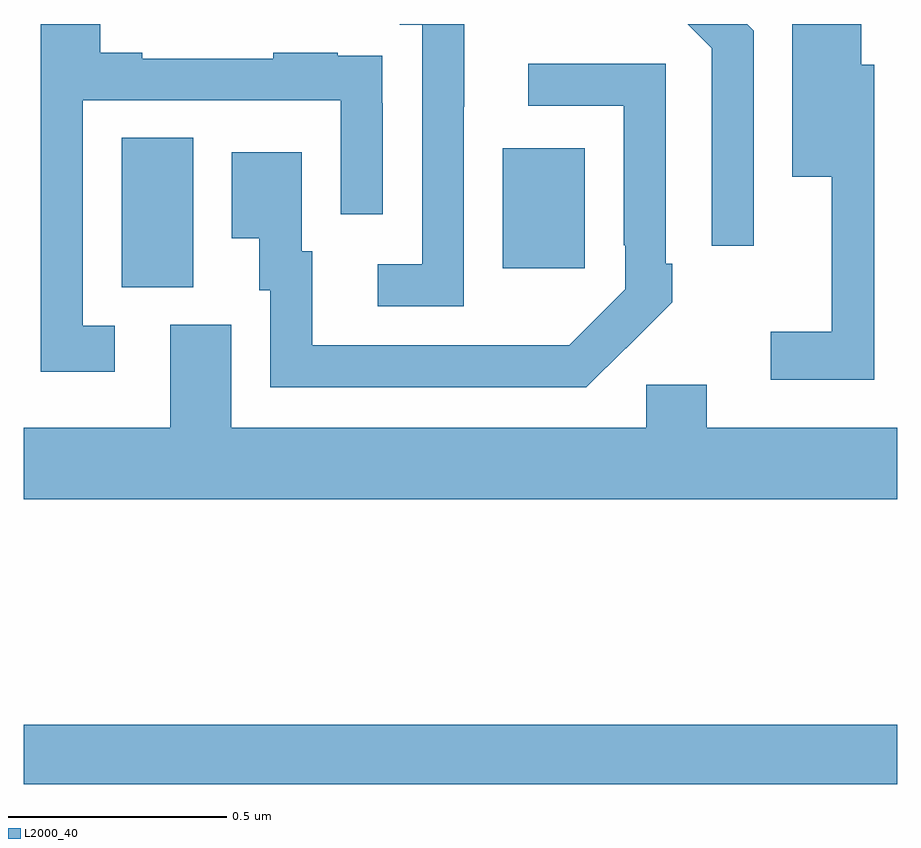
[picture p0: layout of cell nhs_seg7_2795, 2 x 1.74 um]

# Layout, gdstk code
import gdstk
lib = gdstk.Library(unit=1e-6, precision=1e-09)
def R(c, l, rs):  # rectangles x0, y0, x1, y1
    for r in rs: c.add(gdstk.rectangle(r[:2], r[2:], *l))
def P(c, l, *ps):  # polygons
    for p in ps: c.add(gdstk.Polygon(p, *l))
L2000_40 = (2000, 40)

nhs_seg7_2795 = lib.new_cell('nhs_seg7_2795')
R(nhs_seg7_2795, L2000_40, [(150,1037.26,152,1037.396), (150.224,1038.397,150.388,1038.74), (151.097,1038.441,151.285,1038.715)])
P(nhs_seg7_2795, L2000_40, [(151.008,1038.811),(151.009,1038.811),(151.009,1039),(150.861,1039),(150.861,1038.998),(150.912,1038.998),(150.912,1038.45),(150.81,1038.45),(150.81,1038.354),(151.008,1038.354)],
  [(151.671,1038.985),(151.656,1039),(151.52,1039),(151.575,1038.945),(151.575,1038.492),(151.671,1038.492)],
  [(150.208,1038.309),(150.135,1038.309),(150.135,1038.825),(150.726,1038.825),(150.726,1038.564),(150.822,1038.564),(150.822,1038.818),(150.821,1038.818),(150.821,1038.927),(150.719,1038.927),(150.719,1038.934),(150.571,1038.934),(150.571,1038.921),(150.271,1038.921),(150.271,1038.934),(150.175,1038.934),(150.175,1039),(150.039,1039),(150.039,1038.204),(150.208,1038.204)],
  [(151.947,1038.907),(151.918,1038.907),(151.918,1039),(151.76,1039),(151.76,1038.65),(151.85,1038.65),(151.85,1038.295),(151.71,1038.295),(151.71,1038.186),(151.947,1038.186)],
  [(151.379,1038.259),(151.38,1038.258),(151.485,1038.363),(151.485,1038.451),(151.47,1038.451),(151.47,1038.909),(151.155,1038.909),(151.155,1038.813),(151.374,1038.813),(151.374,1038.493),(151.377,1038.493),(151.377,1038.393),(151.249,1038.265),(151.145,1038.265),(151.145,1038.264),(150.661,1038.264),(150.661,1038.48),(150.637,1038.48),(150.637,1038.706),(150.476,1038.706),(150.476,1038.509),(150.539,1038.509),(150.539,1038.39),(150.564,1038.39),(150.564,1038.168),(151.288,1038.168)],
  [(152,1038.076),(151.564,1038.076),(151.564,1038.174),(151.425,1038.174),(151.425,1038.076),(150.475,1038.076),(150.475,1038.312),(150.335,1038.312),(150.335,1038.076),(150,1038.076),(150,1037.912),(152,1037.912)])

lib.write_gds('nhs_seg7_2795.gds')
